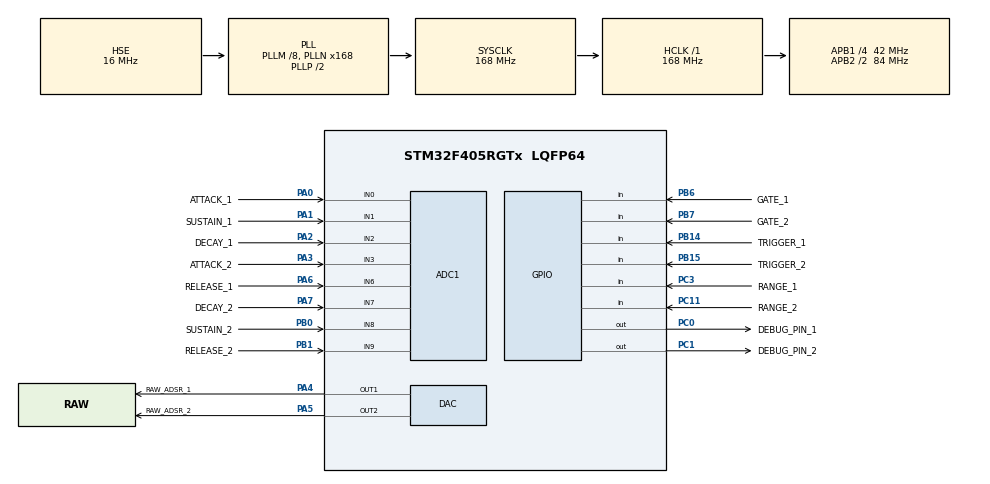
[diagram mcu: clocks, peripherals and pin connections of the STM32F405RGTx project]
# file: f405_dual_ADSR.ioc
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ADC1.Channel-0\#ChannelRegularConversion=ADC_CHANNEL_0
ADC1.Channel-15\#ChannelRegularConversion=ADC_CHANNEL_2
ADC1.Channel-16\#ChannelRegularConversion=ADC_CHANNEL_1
ADC1.Channel-17\#ChannelRegularConversion=ADC_CHANNEL_6
ADC1.Channel-18\#ChannelRegularConversion=ADC_CHANNEL_3
ADC1.Channel-19\#ChannelRegularConversion=ADC_CHANNEL_7
ADC1.Channel-20\#ChannelRegularConversion=ADC_CHANNEL_8
ADC1.Channel-21\#ChannelRegularConversion=ADC_CHANNEL_9
ADC1.ContinuousConvMode=DISABLE
ADC1.DMAContinuousRequests=ENABLE
ADC1.DiscontinuousConvMode=DISABLE
ADC1.EOCSelection=ADC_EOC_SINGLE_CONV
ADC1.ExternalTrigConv=ADC_EXTERNALTRIGCONV_T2_TRGO
ADC1.NbrOfConversion=8
ADC1.NbrOfConversionFlag=1
ADC1.Rank-0\#ChannelRegularConversion=1
ADC1.Rank-15\#ChannelRegularConversion=2
ADC1.Rank-16\#ChannelRegularConversion=3
ADC1.Rank-17\#ChannelRegularConversion=4
ADC1.Rank-18\#ChannelRegularConversion=5
ADC1.Rank-19\#ChannelRegularConversion=6
ADC1.Rank-20\#ChannelRegularConversion=7
ADC1.Rank-21\#ChannelRegularConversion=8
ADC1.SamplingTime-0\#ChannelRegularConversion=ADC_SAMPLETIME_3CYCLES
ADC1.SamplingTime-15\#ChannelRegularConversion=ADC_SAMPLETIME_3CYCLES
ADC1.SamplingTime-16\#ChannelRegularConversion=ADC_SAMPLETIME_3CYCLES
ADC1.SamplingTime-17\#ChannelRegularConversion=ADC_SAMPLETIME_3CYCLES
ADC1.SamplingTime-18\#ChannelRegularConversion=ADC_SAMPLETIME_3CYCLES
ADC1.SamplingTime-19\#ChannelRegularConversion=ADC_SAMPLETIME_3CYCLES
ADC1.SamplingTime-20\#ChannelRegularConversion=ADC_SAMPLETIME_3CYCLES
ADC1.SamplingTime-21\#ChannelRegularConversion=ADC_SAMPLETIME_3CYCLES
ADC1.ScanConvMode=ENABLE
ADC1.master=1
DAC.DAC_Trigger=DAC_TRIGGER_NONE
DAC.DAC_Trigger2=DAC_TRIGGER_NONE
Dma.ADC1.0.Direction=DMA_PERIPH_TO_MEMORY
Dma.ADC1.0.FIFOMode=DMA_FIFOMODE_DISABLE
Dma.ADC1.0.Instance=DMA2_Stream0
Dma.ADC1.0.MemDataAlignment=DMA_MDATAALIGN_WORD
Dma.ADC1.0.MemInc=DMA_MINC_ENABLE
Dma.ADC1.0.Mode=DMA_CIRCULAR
Dma.ADC1.0.PeriphDataAlignment=DMA_PDATAALIGN_WORD
Dma.ADC1.0.PeriphInc=DMA_PINC_DISABLE
Dma.ADC1.0.Priority=DMA_PRIORITY_LOW
Dma.Request0=ADC1
Mcu.Family=STM32F4
Mcu.Name=STM32F405RGTx
Mcu.Package=LQFP64
NVIC.DMA2_Stream0_IRQn=true\:0\:0\:false\:false\:true\:false\:true
NVIC.PriorityGroup=NVIC_PRIORITYGROUP_4
NVIC.TIM1_UP_TIM10_IRQn=true\:1\:0\:true\:false\:true\:true\:true
NVIC.TIM7_IRQn=true\:0\:0\:false\:false\:true\:true\:true
PA0-WKUP.GPIO_Label=ATTACK_1
PA0-WKUP.Signal=ADCx_IN0
PA1.GPIO_Label=SUSTAIN_1
PA1.Signal=ADCx_IN1
PA13.Mode=Serial_Wire
PA13.Signal=SYS_JTMS-SWDIO
PA14.Mode=Serial_Wire
PA14.Signal=SYS_JTCK-SWCLK
PA2.GPIO_Label=DECAY_1
PA2.Signal=ADCx_IN2
PA3.GPIO_Label=ATTACK_2
PA3.Signal=ADCx_IN3
PA4.GPIO_Label=RAW_ADSR_1
PA4.Signal=COMP_DAC1_group
PA5.GPIO_Label=RAW_ADSR_2
PA5.Signal=COMP_DAC2_group
PA6.GPIO_Label=RELEASE_1
PA6.Signal=ADCx_IN6
PA7.GPIO_Label=DECAY_2
PA7.Signal=ADCx_IN7
PB0.GPIO_Label=SUSTAIN_2
PB0.Signal=ADCx_IN8
PB1.GPIO_Label=RELEASE_2
PB1.Signal=ADCx_IN9
PB14.GPIO_Label=TRIGGER_1
PB14.GPIO_PuPd=GPIO_PULLUP
PB14.Signal=GPIO_Input
PB15.GPIO_Label=TRIGGER_2
PB15.GPIO_PuPd=GPIO_PULLUP
PB15.Signal=GPIO_Input
PB6.GPIO_Label=GATE_1
PB6.GPIO_PuPd=GPIO_PULLUP
PB6.Signal=GPIO_Input
PB7.GPIO_Label=GATE_2
PB7.GPIO_PuPd=GPIO_PULLUP
PB7.Signal=GPIO_Input
PC0.GPIO_Label=DEBUG_PIN_1
PC0.Signal=GPIO_Output
PC1.GPIO_Label=DEBUG_PIN_2
PC1.Signal=GPIO_Output
PC11.GPIO_Label=RANGE_2
PC11.GPIO_PuPd=GPIO_PULLUP
PC11.Signal=GPIO_Input
PC3.GPIO_Label=RANGE_1
PC3.GPIO_PuPd=GPIO_PULLUP
PC3.Signal=GPIO_Input
PH0-OSC_IN.Mode=HSE-External-Oscillator
PH0-OSC_IN.Signal=RCC_OSC_IN
PH1-OSC_OUT.Mode=HSE-External-Oscillator
PH1-OSC_OUT.Signal=RCC_OSC_OUT
ProjectManager.HeapSize=0x200
ProjectManager.StackSize=0x400
ProjectManager.TargetToolchain=STM32CubeIDE
RCC.48MHZClocksFreq_Value=84000000
RCC.AHBFreq_Value=168000000
RCC.APB1CLKDivider=RCC_HCLK_DIV4
RCC.APB1Freq_Value=42000000
RCC.APB1TimFreq_Value=84000000
RCC.APB2CLKDivider=RCC_HCLK_DIV2
RCC.APB2Freq_Value=84000000
RCC.APB2TimFreq_Value=168000000
RCC.CortexFreq_Value=168000000
RCC.HCLKFreq_Value=168000000
RCC.HSE_VALUE=16000000
RCC.HSI_VALUE=16000000
RCC.LSE_VALUE=32768
RCC.PLLM=8
RCC.PLLN=168
RCC.PLLSourceVirtual=RCC_PLLSOURCE_HSE
RCC.SYSCLKFreq_VALUE=168000000
RCC.SYSCLKSource=RCC_SYSCLKSOURCE_PLLCLK
RCC.VCOOutputFreq_Value=336000000
SH.ADCx_IN0.0=ADC1_IN0,IN0
SH.ADCx_IN1.0=ADC1_IN1,IN1
SH.ADCx_IN2.0=ADC1_IN2,IN2
SH.ADCx_IN3.0=ADC1_IN3,IN3
SH.ADCx_IN6.0=ADC1_IN6,IN6
SH.ADCx_IN7.0=ADC1_IN7,IN7
SH.ADCx_IN8.0=ADC1_IN8,IN8
SH.ADCx_IN9.0=ADC1_IN9,IN9
SH.COMP_DAC1_group.0=DAC_OUT1,DAC_OUT1
SH.COMP_DAC2_group.0=DAC_OUT2,DAC_OUT2
TIM10.AutoReloadPreload=TIM_AUTORELOAD_PRELOAD_DISABLE
TIM10.Period=999
TIM10.Prescaler=167
TIM2.Period=999
TIM2.Prescaler=167
TIM2.TIM_MasterOutputTrigger=TIM_TRGO_UPDATE
TIM2.TIM_MasterSlaveMode=TIM_MASTERSLAVEMODE_ENABLE
TIM7.Period=99
TIM7.Prescaler=83
TIM7.TIM_MasterOutputTrigger=TIM_TRGO_RESET
VP_TIM10_VS_ClockSourceINT.Mode=Enable_Timer
VP_TIM2_VS_ClockSourceINT.Mode=Internal
VP_TIM7_VS_ClockSourceINT.Mode=Enable_Timer
board=custom

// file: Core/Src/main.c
/* USER CODE BEGIN Header */
/**
  ******************************************************************************
  * @file           : main.c
  * @brief          : Main program body
  ******************************************************************************
  * @attention
  *
  * <h2><center>&copy; Copyright (c) 2020 STMicroelectronics.
  * All rights reserved.</center></h2>
  *
  * This software component is licensed by ST under BSD 3-Clause license,
  * the "License"; You may not use this file except in compliance with the
  * License. You may obtain a copy of the License at:
  *                        opensource.org/licenses/BSD-3-Clause
  *
  ******************************************************************************
  */
/* USER CODE END Header */

#include "main.h"
#include "adc.h"
#include "dac.h"
#include "dma.h"
#include "tim.h"
#include "gpio.h"

/* USER CODE BEGIN Includes */

#include "../ADSR_lib/ADSR.h"
#include "../Discrete_Input_lib/Discrete_Input.h"
#include "math.h"
#include "stdbool.h"

/* USER CODE END Includes */

/* USER CODE BEGIN PTD */

/*
--| NAME: ADSR_Range_enum
--| DESCRIPTION: enumeration for either long or short range for time based params
*/
typedef enum ADSR_Range_Enumeration
{
	ADSR_RANGE_SHORT,
	ADSR_RANGE_LONG
} ADSR_Range_enum;

/* USER CODE END PTD */

/* USER CODE BEGIN PD */

/*
--| NAME: NUM_ADSRs
--| DESCRIPTION: the number of ADSR generators in the system
--| TYPE: uint
*/
#define NUM_ADSRs (2)

/*
--| NAME: SAMPLE_RATE_MSEC
--| DESCRIPTION: the sample rate for the ADSRs, in Hertz
--| TYPE: uint
*/
#define ADSR_SAMPLE_RATE_Hz (10000)

/*
--| NAME: GATE_AND_TRIGGER_DEBOUNCE_COUNT
--| DESCRIPTION: the debounce count used for discrete gate and trigger inputs
--| TYPE: uint
*/
#define GATE_AND_TRIGGER_DEBOUNCE_COUNT (5)

/*
--| NAME: RANGE_SWITCH_DEBOUNCE_COUNT
--| DESCRIPTION: the debounce count used for discrete range switch inputs
--| TYPE: uint
*/
#define RANGE_SWITCH_DEBOUNCE_COUNT (25)

/*
--| NAME: TOTAL_NUM_ADSR_INPUTS
--| DESCRIPTION: the total number of ADSR inputs. A, D, S, and R inputs for 2 ADSRs
--| TYPE: uint
*/
#define TOTAL_NUM_ADSR_INPUTS (NUM_ADSR_INPUT_TYPES * NUM_ADSRs)

/* USER CODE END PD */

/* USER CODE BEGIN PV */

/*
--| NAME: adsr
--| DESCRIPTION: the array of Attack Decay Sustain Release generators
--| TYPE: ADSR_t
*/
ADSR_t adsr[NUM_ADSRs];

/*
--| NAME: gate_input
--| DESCRIPTION: array of gate inputs
--| TYPE: Discrete_Input_t
*/
Discrete_Input_t gate_input[NUM_ADSRs] =
{
	{
		GATE_1_GPIO_Port,
		GATE_1_Pin,
		DISCRETE_INPUT_DEFAULT_INITIAL_STATE,
		DISCRETE_INPUT_POLARITY_ACTIVE_LOW,
		GATE_AND_TRIGGER_DEBOUNCE_COUNT,
		DISCRETE_INPUT_DISABLE_LONG_PRESS_COUNT,
		DEFAULT_DISCRETE_INPUT_PRIVATE_SETTING,
		DEFAULT_DISCRETE_INPUT_PRIVATE_SETTING
	},

	{
		GATE_2_GPIO_Port,
		GATE_2_Pin,
		DISCRETE_INPUT_DEFAULT_INITIAL_STATE,
		DISCRETE_INPUT_POLARITY_ACTIVE_LOW,
		GATE_AND_TRIGGER_DEBOUNCE_COUNT,
		DISCRETE_INPUT_DISABLE_LONG_PRESS_COUNT,
		DEFAULT_DISCRETE_INPUT_PRIVATE_SETTING,
		DEFAULT_DISCRETE_INPUT_PRIVATE_SETTING
	},
};

/*
--| NAME: trigger_input
--| DESCRIPTION: array of trigger inputs
--| TYPE: Discrete_Input_t
*/
Discrete_Input_t trigger_input[NUM_ADSRs] =
{
	{
		TRIGGER_1_GPIO_Port,
		TRIGGER_1_Pin,
		DISCRETE_INPUT_DEFAULT_INITIAL_STATE,
		DISCRETE_INPUT_POLARITY_ACTIVE_LOW,
		GATE_AND_TRIGGER_DEBOUNCE_COUNT,
		DISCRETE_INPUT_DISABLE_LONG_PRESS_COUNT,
		DEFAULT_DISCRETE_INPUT_PRIVATE_SETTING,
		DEFAULT_DISCRETE_INPUT_PRIVATE_SETTING
	},

	{
		TRIGGER_2_GPIO_Port,
		TRIGGER_2_Pin,
		DISCRETE_INPUT_DEFAULT_INITIAL_STATE,
		DISCRETE_INPUT_POLARITY_ACTIVE_LOW,
		GATE_AND_TRIGGER_DEBOUNCE_COUNT,
		DISCRETE_INPUT_DISABLE_LONG_PRESS_COUNT,
		DEFAULT_DISCRETE_INPUT_PRIVATE_SETTING,
		DEFAULT_DISCRETE_INPUT_PRIVATE_SETTING
	},
};

/*
--| NAME: range_switch
--| DESCRIPTION: array of range switch inputs
--| TYPE: Discrete_Input_t
*/
Discrete_Input_t range_switch[NUM_ADSRs] =
{
	{
		RANGE_1_GPIO_Port,
		RANGE_1_Pin,
		DISCRETE_INPUT_DEFAULT_INITIAL_STATE,
		DISCRETE_INPUT_POLARITY_ACTIVE_HIGH,
		RANGE_SWITCH_DEBOUNCE_COUNT,
		DISCRETE_INPUT_DISABLE_LONG_PRESS_COUNT,
		DEFAULT_DISCRETE_INPUT_PRIVATE_SETTING,
		DEFAULT_DISCRETE_INPUT_PRIVATE_SETTING
	},

	{
		RANGE_2_GPIO_Port,
		RANGE_2_Pin,
		DISCRETE_INPUT_DEFAULT_INITIAL_STATE,
		DISCRETE_INPUT_POLARITY_ACTIVE_HIGH,
		RANGE_SWITCH_DEBOUNCE_COUNT,
		DISCRETE_INPUT_DISABLE_LONG_PRESS_COUNT,
		DEFAULT_DISCRETE_INPUT_PRIVATE_SETTING,
		DEFAULT_DISCRETE_INPUT_PRIVATE_SETTING
	}
};

/*
--| NAME: raw_potentiometer_reading
--| DESCRIPTION: the raw potentiometer readings, filled via DMA
--| TYPE: uint32_t
*/
uint32_t raw_potentiometer_reading[TOTAL_NUM_ADSR_INPUTS];

/*
--| NAME: scaled_potentiometer_reading
--| DESCRIPTION: the scaled potentiometer readings
--| TYPE: uint32_t
*/
uint32_t scaled_potentiometer_reading[TOTAL_NUM_ADSR_INPUTS];

/*
--| NAME: adsr_range
--| DESCRIPTION: short or long range for each ADSR
--| TYPE: ADSR_Range_enum
*/
ADSR_Range_enum adsr_range[NUM_ADSRs];

/*
--| NAME: debug_counter
--| DESCRIPTION: a counter used for generating gate signals for testing
--| TYPE: uint32_t
*/
uint32_t debug_counter = 0;

/*
--| NAME: debug_gate
--| DESCRIPTION: boolean gate signal for testing
--| TYPE: bool
*/
bool debug_gate = 0;

/* USER CODE END PV */

void SystemClock_Config(void);
/* USER CODE BEGIN PFP */

/*------------------------------------------------------------------------------
Function Name:
    tick_ADSRs

Function Description:
    Tick the ADSRs.

Parameters:
    None.

Returns:
    None.

Assumptions/Limitations:
	Assumes that this function will be called at the defined sample rate.
------------------------------------------------------------------------------*/
void tick_ADSRs(void);

/*------------------------------------------------------------------------------
Function Name:
    poll_gate_and_trigger_inputs

Function Description:
    Poll the gate and trigger inputs and deliver gate on/off messages to the
    ADSRs.

Parameters:
    None.

Returns:
    None.

Assumptions/Limitations:
	Assumes that all initialization is complete.
------------------------------------------------------------------------------*/
void poll_gate_and_trigger_inputs(void);

/*------------------------------------------------------------------------------
Function Name:
    poll_range_switches

Function Description:
    Poll the range switches and set the range for each ADSR.

Parameters:
    None.

Returns:
    None.

Assumptions/Limitations:
	Assumes that all initialization is complete.
------------------------------------------------------------------------------*/
void poll_range_switches(void);

/*------------------------------------------------------------------------------
Function Name:
    scale_potentiometer_readings

Function Description:
    Scale the raw potentiometer readings so that they map to the desired ADSR
    parameters.

Parameters:
    None.

Returns:
    None.

Assumptions/Limitations:
	Assumes that all initialization is complete.
------------------------------------------------------------------------------*/
void scale_potentiometer_readings(void);

/*------------------------------------------------------------------------------
Function Name:
    update_ADSR_inputs

Function Description:
    Update the Attack, Decay, Sustain, and Release inputs for each of the
    four ADSRs based on the scaled potentiometer readings.

Parameters:
    None.

Returns:
    None.

Assumptions/Limitations:
	Assumes that all initialization is complete.
------------------------------------------------------------------------------*/
void update_ADSR_inputs(void);

/*------------------------------------------------------------------------------
Function Name:
    update_DACs

Function Description:
    Update the built in DACs with the current values of the ADSRs.

Parameters:
    None.

Returns:
    None.

Assumptions/Limitations:
	Assumes that all initialization is complete.
------------------------------------------------------------------------------*/
void update_DACs(void);

/* USER CODE END PFP */

int main(void)
{

  /* MCU Configuration--------------------------------------------------------*/

  /* Reset of all peripherals, Initializes the Flash interface and the Systick. */
  HAL_Init();

  /* Configure the system clock */
  SystemClock_Config();

  /* Initialize all configured peripherals */
  MX_GPIO_Init();
  MX_DMA_Init();
  MX_ADC1_Init();
  MX_DAC_Init();
  MX_TIM7_Init();
  MX_TIM2_Init();
  MX_TIM10_Init();
  /* USER CODE BEGIN 2 */

  // fill the adsr look up tables
  ADSR_Initialize_Look_Up_Tables();

  // initialize the adsrs with the default parameters and the defined sample rate
  for (int i = 0; i < NUM_ADSRs; ++i)
  {
	  Initialize_ADSR(&adsr[i], ADSR_SAMPLE_RATE_Hz);
  }

  // start both channels of the built-in DAC
  HAL_DAC_Start(&hdac, DAC_CHANNEL_1);
  HAL_DAC_Start(&hdac, DAC_CHANNEL_2);

  // start the sample-rate interrupt timers
  HAL_TIM_Base_Start_IT(&htim7);
  HAL_TIM_Base_Start_IT(&htim10);

  // start the ADC DMA timer and start the ADC in DMA mode
  HAL_TIM_Base_Start(&htim2);
  HAL_ADC_Start_DMA(&hadc1, raw_potentiometer_reading, TOTAL_NUM_ADSR_INPUTS);

  /* USER CODE END 2 */

  /* Infinite loop */
  /* USER CODE BEGIN WHILE */
  while (1)
  {
	  // everything happens in the interrupt routines and DMA

    /* USER CODE END WHILE */

  }
}

void SystemClock_Config(void)
{
  RCC_OscInitTypeDef RCC_OscInitStruct = {0};
  RCC_ClkInitTypeDef RCC_ClkInitStruct = {0};

  /** Configure the main internal regulator output voltage
  */
  __HAL_RCC_PWR_CLK_ENABLE();
  __HAL_PWR_VOLTAGESCALING_CONFIG(PWR_REGULATOR_VOLTAGE_SCALE1);
  /** Initializes the CPU, AHB and APB busses clocks
  */
  RCC_OscInitStruct.OscillatorType = RCC_OSCILLATORTYPE_HSE;
  RCC_OscInitStruct.HSEState = RCC_HSE_ON;
  RCC_OscInitStruct.PLL.PLLState = RCC_PLL_ON;
  RCC_OscInitStruct.PLL.PLLSource = RCC_PLLSOURCE_HSE;
  RCC_OscInitStruct.PLL.PLLM = 8;
  RCC_OscInitStruct.PLL.PLLN = 168;
  RCC_OscInitStruct.PLL.PLLP = RCC_PLLP_DIV2;
  RCC_OscInitStruct.PLL.PLLQ = 4;
  if (HAL_RCC_OscConfig(&RCC_OscInitStruct) != HAL_OK)
  {
    Error_Handler();
  }
  /** Initializes the CPU, AHB and APB busses clocks
  */
  RCC_ClkInitStruct.ClockType = RCC_CLOCKTYPE_HCLK|RCC_CLOCKTYPE_SYSCLK
                              |RCC_CLOCKTYPE_PCLK1|RCC_CLOCKTYPE_PCLK2;
  RCC_ClkInitStruct.SYSCLKSource = RCC_SYSCLKSOURCE_PLLCLK;
  RCC_ClkInitStruct.AHBCLKDivider = RCC_SYSCLK_DIV1;
  RCC_ClkInitStruct.APB1CLKDivider = RCC_HCLK_DIV4;
  RCC_ClkInitStruct.APB2CLKDivider = RCC_HCLK_DIV2;

  if (HAL_RCC_ClockConfig(&RCC_ClkInitStruct, FLASH_LATENCY_5) != HAL_OK)
  {
    Error_Handler();
  }
}

/* USER CODE BEGIN 4 */

/*
	htim7 is the faster sample rate interrupt source, it fires at the
	system sample rate for the ADSRs. When htim7 fires we calculate the
	current ADSR values and update the DACs.

	htim10 is a slower interrupt for reading the range switches and
	processing the pots.

	htim7 has higher priority than htim10, to keep a consistent periodic
	sample rate for the time critical stuff.
 */
void HAL_TIM_PeriodElapsedCallback(TIM_HandleTypeDef *htim)
{
	if (htim == &htim7)
	{
		poll_gate_and_trigger_inputs();
		tick_ADSRs();
		update_DACs();
	}
	else if (htim == &htim10)
	{
		poll_range_switches();
		scale_potentiometer_readings();
		update_ADSR_inputs();
	}
}

void tick_ADSRs(void)
{
	for (int i = 0; i < NUM_ADSRs; ++i)
	{
		ADSR_Tick(&adsr[i]);
	}
}

void poll_gate_and_trigger_inputs(void)
{
	// poll each trigger and gate input
	for (int i = 0; i < NUM_ADSRs; ++i)
	{
		Poll_Discrete_Input(&gate_input[i]);
		Poll_Discrete_Input(&trigger_input[i]);

		// start an attack phase on rising gates or rising triggers
		if (gate_input[i].state == DISCRETE_INPUT_STATE_RISING_EDGE)
		{
			ADSR_Gate_On_Event(&adsr[i]);
		}

		if (trigger_input[i].state == DISCRETE_INPUT_STATE_RISING_EDGE)
		{
			ADSR_Gate_On_Event(&adsr[i]);
		}

		// start a release phase on falling gates
		if (gate_input[i].state == DISCRETE_INPUT_STATE_FALLING_EDGE)
		{
			ADSR_Gate_Off_Event(&adsr[i]);
		}
	}
}

void poll_range_switches(void)
{
	for (int i = 0; i < NUM_ADSRs; ++i)
	{
		Poll_Discrete_Input(&range_switch[i]);

		if (range_switch[i].state == DISCRETE_INPUT_STATE_HIGH)
		{
			adsr_range[i] = ADSR_RANGE_LONG;
		}
		else
		{
			adsr_range[i] = ADSR_RANGE_SHORT;
		}
	}
}

void scale_potentiometer_readings(void)
{
	/*
	we need to apply an exponential mapping to the raw 12 bit ADC reading for each
	of the time based parameters (attack time, decay time, and release time) so that
	the potentiometers have a wide range while feeling natural. Two ranges are covered,
	short and long, based on the position of the range switches.

	Since the ADC is in 12 bit mode, the formula to get the exponent to reach some
	desired max value is given by: exponent = ln(max-value) / ln(4095)
	For example, to create a range from 1 millisecond to 5 seconds:
		ln(5000) / ln(4095) = 1.024, so we use 1.024 as our exponent

	This gives us a range of 5000 to 1, a pretty comfortable range for a standard 1-turn
	potentiometer.

	For the long range, we will use the same exponent, but also multiply by a constant value
	to shift the range up so that it covers longer times.

	The sustain values are simply linearly scaled from 12 bits to the range [0, 1000] representing
	0% to 100% sustain.

	To reduce noise, an lsb or two may be shifted away.

	This routine takes a long time to complete and could certainly be optimized.
	*/

	const double desired_max_value = 5000.0;
	const uint32_t num_ADC_bits = 12;
	const uint32_t num_ADC_bits_to_ignore = 2;
	const uint32_t num_effective_ADC_bits = num_ADC_bits - num_ADC_bits_to_ignore;
	const double ADC_full_scale = (double)(1 << num_effective_ADC_bits);
	const double exponent = log(desired_max_value) / log(ADC_full_scale);
	const uint32_t short_scaler = 1;
	const uint32_t long_scaler = 5;

	// the decay and release times feel better if they are longer than the attack, because the attack curve is truncated
	// and decay/release curves are not
	const uint32_t decay_and_release_scaler = 10;

	uint32_t range_scaler;

	if (adsr_range[0] == ADSR_RANGE_SHORT)
	{
		range_scaler = short_scaler;
	}
	else // ADSR 1 is in long range mode
	{
		range_scaler = long_scaler;
	}

	scaled_potentiometer_reading[0] = pow((raw_potentiometer_reading[0] >> num_ADC_bits_to_ignore) + 1, exponent) * range_scaler;
	scaled_potentiometer_reading[1] = pow((raw_potentiometer_reading[1] >> num_ADC_bits_to_ignore) + 1, exponent) * range_scaler * decay_and_release_scaler;
	scaled_potentiometer_reading[2] = ((raw_potentiometer_reading[2] >> num_ADC_bits_to_ignore) * 1000) / (1 << num_effective_ADC_bits);
	scaled_potentiometer_reading[3] = pow((raw_potentiometer_reading[3] >> num_ADC_bits_to_ignore) + 1, exponent) * range_scaler * decay_and_release_scaler;

	if (adsr_range[1] == ADSR_RANGE_SHORT)
	{
		range_scaler = short_scaler;
	}
	else // ADSR 2 is in long range mode
	{
		range_scaler = long_scaler;
	}

	scaled_potentiometer_reading[4] = pow((raw_potentiometer_reading[4] >> num_ADC_bits_to_ignore) + 1, exponent) * range_scaler;
	scaled_potentiometer_reading[5] = pow((raw_potentiometer_reading[5] >> num_ADC_bits_to_ignore) + 1, exponent) * range_scaler * decay_and_release_scaler;
	scaled_potentiometer_reading[6] = ((raw_potentiometer_reading[6] >> num_ADC_bits_to_ignore) * 1000) / (1 << num_effective_ADC_bits);
	scaled_potentiometer_reading[7] = pow((raw_potentiometer_reading[7] >> num_ADC_bits_to_ignore) + 1, exponent) * range_scaler * decay_and_release_scaler;
}

void update_ADSR_inputs(void)
{
	for (int i = 0; i < (NUM_ADSR_INPUT_TYPES * NUM_ADSRs); ++i)
	{
		if (i < NUM_ADSR_INPUT_TYPES)
		{
			adsr[0].input[i] = scaled_potentiometer_reading[i];
		}
		else
		{
			adsr[1].input[i - NUM_ADSR_INPUT_TYPES] = scaled_potentiometer_reading[i];
		}
	}
}

void update_DACs(void)
{
	// scale the 32 bit ADSRs down to 12 bits and write them to the DACs
	HAL_DAC_SetValue(&hdac, DAC_CHANNEL_1, DAC_ALIGN_12B_R, adsr[0].current_value >> 20);
	HAL_DAC_SetValue(&hdac, DAC_CHANNEL_2, DAC_ALIGN_12B_R, adsr[1].current_value >> 20);
}

/* USER CODE END 4 */

void Error_Handler(void)
{
}

/************************ (C) COPYRIGHT STMicroelectronics *****END OF FILE****/
